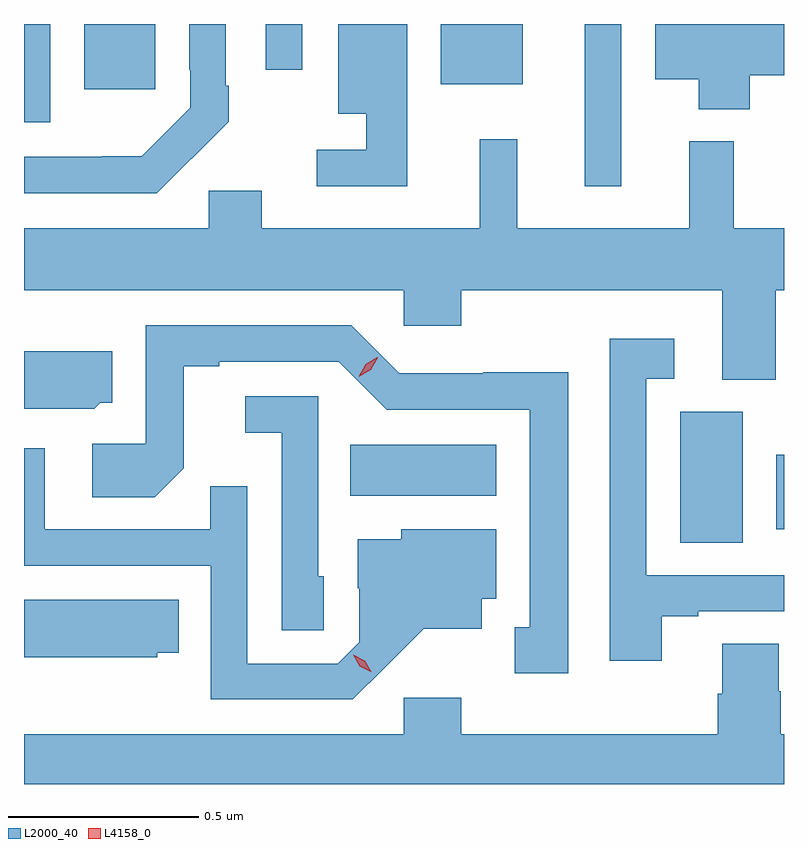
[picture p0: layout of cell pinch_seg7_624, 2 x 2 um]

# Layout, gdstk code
import gdstk
lib = gdstk.Library(unit=1e-6, precision=1e-09)
def R(c, l, rs):  # rectangles x0, y0, x1, y1
    for r in rs: c.add(gdstk.rectangle(r[:2], r[2:], *l))
def P(c, l, *ps):  # polygons
    for p in ps: c.add(gdstk.Polygon(p, *l))
L2000_40 = (2000, 40)
L4158_0 = (4158, 0)

pinch_seg7_624 = lib.new_cell('pinch_seg7_624')
R(pinch_seg7_624, L2000_40, [(179.972,1058.56,180.136,1058.904), (180.224,1058.595,180.245,1058.791), (179.104,1058.684,179.488,1058.818), (179.72,1059.498,179.817,1059.925), (178.245,1059.666,178.314,1059.925), (178.403,1059.753,178.591,1059.925), (179.342,1059.767,179.557,1059.925), (178.881,1059.804,178.977,1059.925)])
P(pinch_seg7_624, L2000_40, [(178.685,1059.571),(178.686,1059.57),(178.784,1059.668),(178.784,1059.763),(178.776,1059.763),(178.776,1059.925),(178.68,1059.925),(178.68,1059.805),(178.683,1059.805),(178.683,1059.705),(178.555,1059.577),(178.451,1059.577),(178.451,1059.576),(178.245,1059.576),(178.245,1059.48),(178.594,1059.48)],
  [(179.253,1059.771),(179.254,1059.771),(179.254,1059.925),(179.072,1059.925),(179.072,1059.689),(179.145,1059.689),(179.145,1059.594),(179.016,1059.594),(179.016,1059.498),(179.253,1059.498)],
  [(180.155,1059.79),(180.245,1059.79),(180.245,1059.925),(179.906,1059.925),(179.906,1059.779),(180.02,1059.779),(180.02,1059.701),(180.155,1059.701)],
  [(180.223,1059.224),(180.245,1059.224),(180.245,1059.388),(180.113,1059.388),(180.113,1059.616),(179.996,1059.616),(179.996,1059.388),(179.543,1059.388),(179.543,1059.622),(179.444,1059.622),(179.444,1059.388),(178.87,1059.388),(178.87,1059.486),(178.731,1059.486),(178.731,1059.388),(178.245,1059.388),(178.245,1059.224),(179.244,1059.224),(179.244,1059.131),(179.396,1059.131),(179.396,1059.224),(180.083,1059.224),(180.083,1058.989),(180.223,1058.989)],
  [(179.677,1059.008),(179.454,1059.008),(179.454,1059.006),(179.232,1059.006),(179.106,1059.132),(178.566,1059.132),(178.566,1058.82),(178.425,1058.82),(178.425,1058.68),(178.589,1058.68),(178.665,1058.756),(178.665,1059.024),(178.759,1059.024),(178.759,1059.036),(179.073,1059.036),(179.199,1058.91),(179.576,1058.91),(179.576,1058.337),(179.537,1058.337),(179.537,1058.217),(179.677,1058.217)],
  [(179.923,1058.367),(180.019,1058.367),(180.019,1058.379),(180.245,1058.379),(180.245,1058.475),(179.883,1058.475),(179.883,1058.991),(179.956,1058.991),(179.956,1059.097),(179.787,1059.097),(179.787,1058.25),(179.923,1058.25)],
  [(178.446,1058.928),(178.477,1058.928),(178.477,1059.064),(178.245,1059.064),(178.245,1058.913),(178.296,1058.913),(178.296,1058.912),(178.43,1058.912)],
  [(179.034,1058.472),(179.019,1058.472),(179.019,1058.946),(178.827,1058.946),(178.827,1058.849),(178.923,1058.849),(178.923,1058.329),(179.034,1058.329)],
  [(179.194,1058.231),(179.297,1058.333),(179.449,1058.333),(179.449,1058.412),(179.488,1058.412),(179.488,1058.596),(179.238,1058.596),(179.238,1058.569),(179.123,1058.569),(179.123,1058.44),(179.127,1058.44),(179.127,1058.298),(179.07,1058.241),(178.833,1058.241),(178.833,1058.708),(178.735,1058.708),(178.735,1058.595),(178.299,1058.595),(178.299,1058.809),(178.245,1058.809),(178.245,1058.499),(178.737,1058.499),(178.737,1058.148),(179.11,1058.148)],
  [(178.596,1058.27),(178.652,1058.27),(178.652,1058.41),(178.245,1058.41),(178.245,1058.258),(178.596,1058.258)],
  [(180.245,1058.056),(180.236,1058.056),(180.236,1058.169),(180.231,1058.169),(180.231,1058.294),(180.083,1058.294),(180.083,1058.162),(180.071,1058.162),(180.071,1058.056),(179.396,1058.056),(179.396,1058.152),(179.244,1058.152),(179.244,1058.056),(178.245,1058.056),(178.245,1057.925),(180.245,1057.925)])
P(pinch_seg7_624, L4158_0, [(179.126,1058.997),(179.126,1058.997),(179.144,1059.029),(179.175,1059.048),(179.176,1059.048),(179.176,1059.047),(179.158,1059.015),(179.126,1058.997)],
  [(179.158,1058.22),(179.128,1058.235),(179.111,1058.265),(179.111,1058.265),(179.111,1058.265),(179.142,1058.25),(179.159,1058.22),(179.159,1058.22)])

lib.write_gds('pinch_seg7_624.gds')
